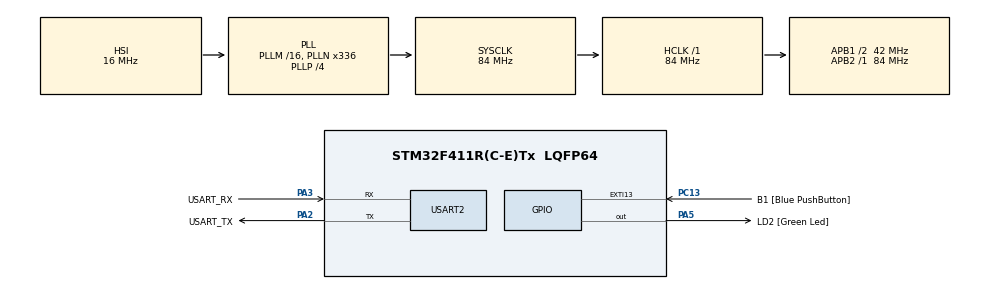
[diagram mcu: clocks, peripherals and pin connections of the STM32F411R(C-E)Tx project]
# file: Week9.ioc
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Dma.Request0=USART2_RX
Dma.Request1=USART2_TX
Dma.USART2_RX.0.Direction=DMA_PERIPH_TO_MEMORY
Dma.USART2_RX.0.FIFOMode=DMA_FIFOMODE_DISABLE
Dma.USART2_RX.0.Instance=DMA1_Stream5
Dma.USART2_RX.0.MemDataAlignment=DMA_MDATAALIGN_BYTE
Dma.USART2_RX.0.MemInc=DMA_MINC_ENABLE
Dma.USART2_RX.0.Mode=DMA_CIRCULAR
Dma.USART2_RX.0.PeriphDataAlignment=DMA_PDATAALIGN_BYTE
Dma.USART2_RX.0.PeriphInc=DMA_PINC_DISABLE
Dma.USART2_RX.0.Priority=DMA_PRIORITY_LOW
Dma.USART2_TX.1.Direction=DMA_MEMORY_TO_PERIPH
Dma.USART2_TX.1.FIFOMode=DMA_FIFOMODE_DISABLE
Dma.USART2_TX.1.Instance=DMA1_Stream6
Dma.USART2_TX.1.MemDataAlignment=DMA_MDATAALIGN_BYTE
Dma.USART2_TX.1.MemInc=DMA_MINC_ENABLE
Dma.USART2_TX.1.Mode=DMA_NORMAL
Dma.USART2_TX.1.PeriphDataAlignment=DMA_PDATAALIGN_BYTE
Dma.USART2_TX.1.PeriphInc=DMA_PINC_DISABLE
Dma.USART2_TX.1.Priority=DMA_PRIORITY_LOW
Mcu.Family=STM32F4
Mcu.Name=STM32F411R(C-E)Tx
Mcu.Package=LQFP64
NVIC.DMA1_Stream5_IRQn=true\:0\:0\:false\:false\:true\:false\:true\:true
NVIC.DMA1_Stream6_IRQn=true\:0\:0\:false\:false\:true\:false\:true\:true
NVIC.PriorityGroup=NVIC_PRIORITYGROUP_0
NVIC.USART2_IRQn=true\:0\:0\:false\:false\:true\:true\:true\:true
PA13.GPIO_Label=TMS
PA13.Mode=Serial_Wire
PA13.Signal=SYS_JTMS-SWDIO
PA14.GPIO_Label=TCK
PA14.Mode=Serial_Wire
PA14.Signal=SYS_JTCK-SWCLK
PA2.GPIO_Label=USART_TX
PA2.Mode=Asynchronous
PA2.Signal=USART2_TX
PA3.GPIO_Label=USART_RX
PA3.Mode=Asynchronous
PA3.Signal=USART2_RX
PA5.GPIO_Label=LD2 [Green Led]
PA5.Signal=GPIO_Output
PB3.GPIO_Label=SWO
PB3.Signal=SYS_JTDO-SWO
PC13-ANTI_TAMP.GPIO_Label=B1 [Blue PushButton]
PC13-ANTI_TAMP.GPIO_ModeDefaultEXTI=GPIO_MODE_IT_FALLING
PC13-ANTI_TAMP.Signal=GPXTI13
PC14-OSC32_IN.Mode=LSE-External-Oscillator
PC14-OSC32_IN.Signal=RCC_OSC32_IN
PC15-OSC32_OUT.Mode=LSE-External-Oscillator
PC15-OSC32_OUT.Signal=RCC_OSC32_OUT
PH0\ -\ OSC_IN.Mode=HSE-External-Clock-Source
PH0\ -\ OSC_IN.Signal=RCC_OSC_IN
PH1\ -\ OSC_OUT.Mode=HSE-External-Clock-Source
PH1\ -\ OSC_OUT.Signal=RCC_OSC_OUT
ProjectManager.HeapSize=0x200
ProjectManager.StackSize=0x400
ProjectManager.TargetToolchain=STM32CubeIDE
RCC.48MHZClocksFreq_Value=84000000
RCC.AHBFreq_Value=84000000
RCC.APB1CLKDivider=RCC_HCLK_DIV2
RCC.APB1Freq_Value=42000000
RCC.APB1TimFreq_Value=84000000
RCC.APB2Freq_Value=84000000
RCC.APB2TimFreq_Value=84000000
RCC.CortexFreq_Value=84000000
RCC.FLatency-AdvancedSettings=FLASH_LATENCY_2
RCC.HCLKFreq_Value=84000000
RCC.HSE_VALUE=8000000
RCC.HSI_VALUE=16000000
RCC.PLLN=336
RCC.PLLP=RCC_PLLP_DIV4
RCC.SYSCLKFreq_VALUE=84000000
RCC.SYSCLKSource=RCC_SYSCLKSOURCE_PLLCLK
RCC.VCOOutputFreq_Value=336000000
USART2.VirtualMode=VM_ASYNC
board=NUCLEO-F411RE

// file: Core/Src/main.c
/* USER CODE BEGIN Header */
/**
  ******************************************************************************
  * @file           : main.c
  * @brief          : Main program body
  ******************************************************************************
  * @attention
  *
  * Copyright (c) 2023 STMicroelectronics.
  * All rights reserved.
  *
  * This software is licensed under terms that can be found in the LICENSE file
  * in the root directory of this software component.
  * If no LICENSE file comes with this software, it is provided AS-IS.
  *
  ******************************************************************************
  */
/* USER CODE END Header */
#include "main.h"

/* USER CODE BEGIN Includes */

/////////////////////////////////////////////////////////////////  Ex.2, 3, 4, 4.5  start

#include "stdio.h"
#include "string.h"

/////////////////////////////////////////////////////////////////  Ex.2, 3, 4, 4.5  end

/* USER CODE END Includes */

UART_HandleTypeDef huart2;
DMA_HandleTypeDef hdma_usart2_rx;
DMA_HandleTypeDef hdma_usart2_tx;

/* USER CODE BEGIN PV */

/////////////////////////////////////////////////////////////////  Ex.2, 3, 4, 4.5 start

uint8_t RxBuffer[20];
uint8_t TxBuffer[40];

/////////////////////////////////////////////////////////////////  Ex.2, 3, 4, 4.5  end

/* USER CODE END PV */

void SystemClock_Config(void);
static void MX_GPIO_Init(void);
static void MX_DMA_Init(void);
static void MX_USART2_UART_Init(void);
/* USER CODE BEGIN PFP */

/////////////////////////////////////////////////////////////////  Ex.2 start

//void UARTPollingMethod();
//void DummyTask();

/////////////////////////////////////////////////////////////////  Ex.2 end

/////////////////////////////////////////////////////////////////  Ex.3, 4, 4.5  start

void DummyTask();
void UARTInterruptConfig();

/////////////////////////////////////////////////////////////////  Ex.3, 4, 4.5  end
/* USER CODE END PFP */

int main(void)
{

  /* MCU Configuration--------------------------------------------------------*/

  /* Reset of all peripherals, Initializes the Flash interface and the Systick. */
  HAL_Init();

  /* Configure the system clock */
  SystemClock_Config();

  /* Initialize all configured peripherals */
  MX_GPIO_Init();
  MX_DMA_Init();
  MX_USART2_UART_Init();
  /* USER CODE BEGIN 2 */

/////////////////////////////////////////////////////////////////  Ex.1 start

//uint8_t text[] = "HELLO FIBO";
//HAL_UART_Transmit(&huart2, text, 11, 10);

/////////////////////////////////////////////////////////////////  Ex.1 end

/////////////////////////////////////////////////////////////////  Ex.3 start

//  UARTInterruptConfig();

/////////////////////////////////////////////////////////////////  Ex.3 end

/////////////////////////////////////////////////////////////////  Ex.4, 4.5 start

  UARTDMAConfig();

/////////////////////////////////////////////////////////////////  Ex.4, 4.5 end

  /* USER CODE END 2 */

  /* Infinite loop */
  while (1)
  {

    /* USER CODE BEGIN 3 */

	  /////////////////////////////////////////////////////////////////  Ex.2 start

//	  UARTPollingMethod();
//	  DummyTask();

	  /////////////////////////////////////////////////////////////////  Ex.2 end

	  /////////////////////////////////////////////////////////////////  Ex.3, 4 start

//	  DummyTask();

	  /////////////////////////////////////////////////////////////////  Ex.3, 4 end

	  /////////////////////////////////////////////////////////////////  Ex.4.5 start

	  DummyTask();
	  HAL_GPIO_TogglePin(GPIOA, GPIO_PIN_0);

	  /////////////////////////////////////////////////////////////////  Ex.4.5 end

  }
  /* USER CODE END 3 */
}

void SystemClock_Config(void)
{
  RCC_OscInitTypeDef RCC_OscInitStruct = {0};
  RCC_ClkInitTypeDef RCC_ClkInitStruct = {0};

  /** Configure the main internal regulator output voltage
  */
  __HAL_RCC_PWR_CLK_ENABLE();
  __HAL_PWR_VOLTAGESCALING_CONFIG(PWR_REGULATOR_VOLTAGE_SCALE1);

  /** Initializes the RCC Oscillators according to the specified parameters
  * in the RCC_OscInitTypeDef structure.
  */
  RCC_OscInitStruct.OscillatorType = RCC_OSCILLATORTYPE_HSI;
  RCC_OscInitStruct.HSIState = RCC_HSI_ON;
  RCC_OscInitStruct.HSICalibrationValue = RCC_HSICALIBRATION_DEFAULT;
  RCC_OscInitStruct.PLL.PLLState = RCC_PLL_ON;
  RCC_OscInitStruct.PLL.PLLSource = RCC_PLLSOURCE_HSI;
  RCC_OscInitStruct.PLL.PLLM = 16;
  RCC_OscInitStruct.PLL.PLLN = 336;
  RCC_OscInitStruct.PLL.PLLP = RCC_PLLP_DIV4;
  RCC_OscInitStruct.PLL.PLLQ = 4;
  if (HAL_RCC_OscConfig(&RCC_OscInitStruct) != HAL_OK)
  {
    Error_Handler();
  }

  /** Initializes the CPU, AHB and APB buses clocks
  */
  RCC_ClkInitStruct.ClockType = RCC_CLOCKTYPE_HCLK|RCC_CLOCKTYPE_SYSCLK
                              |RCC_CLOCKTYPE_PCLK1|RCC_CLOCKTYPE_PCLK2;
  RCC_ClkInitStruct.SYSCLKSource = RCC_SYSCLKSOURCE_PLLCLK;
  RCC_ClkInitStruct.AHBCLKDivider = RCC_SYSCLK_DIV1;
  RCC_ClkInitStruct.APB1CLKDivider = RCC_HCLK_DIV2;
  RCC_ClkInitStruct.APB2CLKDivider = RCC_HCLK_DIV1;

  if (HAL_RCC_ClockConfig(&RCC_ClkInitStruct, FLASH_LATENCY_2) != HAL_OK)
  {
    Error_Handler();
  }
}

static void MX_USART2_UART_Init(void)
{

  huart2.Instance = USART2;
  huart2.Init.BaudRate = 115200;
  huart2.Init.WordLength = UART_WORDLENGTH_8B;
  huart2.Init.StopBits = UART_STOPBITS_1;
  huart2.Init.Parity = UART_PARITY_NONE;
  huart2.Init.Mode = UART_MODE_TX_RX;
  huart2.Init.HwFlowCtl = UART_HWCONTROL_NONE;
  huart2.Init.OverSampling = UART_OVERSAMPLING_16;
  if (HAL_UART_Init(&huart2) != HAL_OK)
  {
    Error_Handler();
  }

}

static void MX_DMA_Init(void)
{

  /* DMA controller clock enable */
  __HAL_RCC_DMA1_CLK_ENABLE();

  /* DMA interrupt init */
  /* DMA1_Stream5_IRQn interrupt configuration */
  HAL_NVIC_SetPriority(DMA1_Stream5_IRQn, 0, 0);
  HAL_NVIC_EnableIRQ(DMA1_Stream5_IRQn);
  /* DMA1_Stream6_IRQn interrupt configuration */
  HAL_NVIC_SetPriority(DMA1_Stream6_IRQn, 0, 0);
  HAL_NVIC_EnableIRQ(DMA1_Stream6_IRQn);

}

static void MX_GPIO_Init(void)
{
  GPIO_InitTypeDef GPIO_InitStruct = {0};

  /* GPIO Ports Clock Enable */
  __HAL_RCC_GPIOC_CLK_ENABLE();
  __HAL_RCC_GPIOH_CLK_ENABLE();
  __HAL_RCC_GPIOA_CLK_ENABLE();
  __HAL_RCC_GPIOB_CLK_ENABLE();

  /*Configure GPIO pin Output Level */
  HAL_GPIO_WritePin(LD2_GPIO_Port, LD2_Pin, GPIO_PIN_RESET);

  /*Configure GPIO pin : B1_Pin */
  GPIO_InitStruct.Pin = B1_Pin;
  GPIO_InitStruct.Mode = GPIO_MODE_IT_FALLING;
  GPIO_InitStruct.Pull = GPIO_NOPULL;
  HAL_GPIO_Init(B1_GPIO_Port, &GPIO_InitStruct);

  /*Configure GPIO pin : LD2_Pin */
  GPIO_InitStruct.Pin = LD2_Pin;
  GPIO_InitStruct.Mode = GPIO_MODE_OUTPUT_PP;
  GPIO_InitStruct.Pull = GPIO_NOPULL;
  GPIO_InitStruct.Speed = GPIO_SPEED_FREQ_LOW;
  HAL_GPIO_Init(LD2_GPIO_Port, &GPIO_InitStruct);

}

/* USER CODE BEGIN 4 */

/////////////////////////////////////////////////////////////////  Ex.2 start

//void UARTPollingMethod(){
//	// read UART 10 char with in 10 s.
//	HAL_StatusTypeDef HAL_Status = HAL_UART_Receive(&huart2, RxBuffer, 10, 10000);
//
//	// if complete read 10 char
//	if (HAL_Status == HAL_OK)
//	{
//		// (for string only) Add string stop symbol \0 to end string
//		RxBuffer[10] = '\0' ;
//
//		// return received char
//		sprintf((char*)TxBuffer, "Received : %s\r\n", RxBuffer);
//		HAL_UART_Transmit(&huart2, TxBuffer, strlen((char*)TxBuffer), 10);
//	}
//
//	else if (HAL_Status == HAL_TIMEOUT)
//	{
//		// (for string only) Add string stop symbol \0 to end string
//		uint32_t lastCharPos = huart2.RxXferSize - huart2.RxXferCount;
//		RxBuffer[lastCharPos] = '\0' ;
//
//		// return received char
//		sprintf((char*)TxBuffer, "Received Timeout : %s\r\n", RxBuffer);
//		HAL_UART_Transmit(&huart2, TxBuffer, strlen((char*)TxBuffer), 10);
//
//	}
//}
//	// Blink LED 5 Hz
//void DummyTask()
//	{
//		static uint32_t timestamp = 0 ;
//		if (HAL_GetTick() >= timestamp){
//
//			timestamp = HAL_GetTick() + 100 ;
//			HAL_GPIO_TogglePin(LD2_GPIO_Port, LD2_Pin);
//		}
//	}

/////////////////////////////////////////////////////////////////  Ex.2 end

/////////////////////////////////////////////////////////////////  Ex.3 start
//
//void UARTInterruptConfig()
//{
//	// start UART in Interrupt Mode
//	HAL_UART_Receive_IT(&huart2, RxBuffer, 10);
//}
//
//void HAL_UART_RxCpltCallback(UART_HandleTypeDef *huart)
//{
//	if (huart == &huart2)
//	{
//		//(for string only) Add string stop symbol \0 to end string
//		RxBuffer[10] = '\0';
//
//		// return received char
//		sprintf((char*)TxBuffer, "Received : %s\r\n" ,RxBuffer);
//		HAL_UART_Transmit_IT(&huart2, TxBuffer, strlen((char*)TxBuffer));
//
//		// recall Receive
//		HAL_UART_Receive_IT(&huart2, RxBuffer, 10);
//
//	}
//}
//
//// Blink LED 5 Hz
//void DummyTask()
//{
//	static uint32_t timestamp = 0 ;
//	if (HAL_GetTick() >= timestamp){
//
//		timestamp = HAL_GetTick() + 100 ;
//		HAL_GPIO_TogglePin(LD2_GPIO_Port, LD2_Pin);
//	}
//}

/////////////////////////////////////////////////////////////////  Ex.3 end

/////////////////////////////////////////////////////////////////  Ex.4, 4.5 start
void UARTDMAConfig()
{
	// start UART in DMA Mode
	HAL_UART_Receive_DMA(&huart2, RxBuffer, 10);

}

void HAL_UART_RxCpltCallback(UART_HandleTypeDef *huart)
{
	if (huart == &huart2)
	{
		//(for string only) Add string stop symbol \0 to end string
		RxBuffer[10] = '\0';

		// return received char
		sprintf((char*)TxBuffer, "Received : %s\r\n" ,RxBuffer);
		HAL_UART_Transmit_DMA(&huart2, TxBuffer, strlen((char*)TxBuffer));

	}
}

// Blink LED 5 Hz
void DummyTask()
{
	static uint32_t timestamp = 0 ;
	if (HAL_GetTick() >= timestamp){

		timestamp = HAL_GetTick() + 100 ;
		HAL_GPIO_TogglePin(LD2_GPIO_Port, LD2_Pin);
	}
}

/////////////////////////////////////////////////////////////////  Ex.4, 4.5 end

/* USER CODE END 4 */

void Error_Handler(void)
{
  __disable_irq();
  while (1)
  {
  }
}
